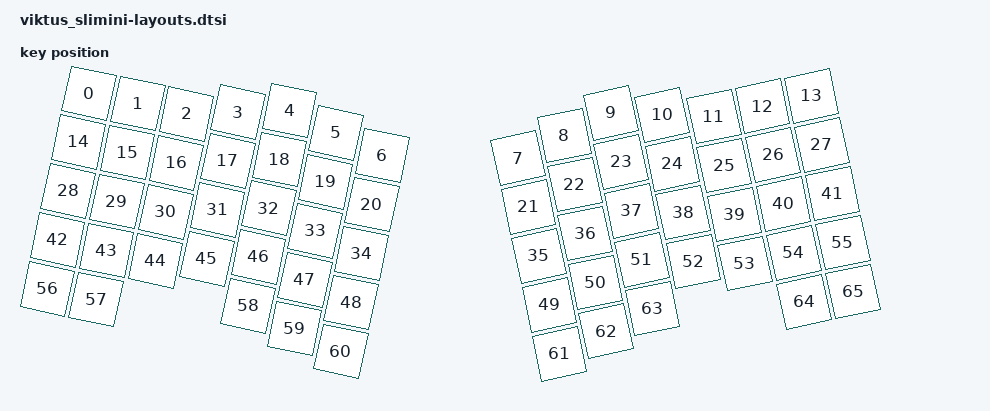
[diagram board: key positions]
/*
 * Copyright (c) 2024 The ZMK Contributors
 *
 * SPDX-License-Identifier: MIT
 */

 #include <physical_layouts.dtsi>

 / {
     physical_layout0: physical_layout_0 {
         compatible = "zmk,physical-layout";
         display-name = "Default";

         keys  //                     w   h    x    y     rot    rx    ry
             = <&key_physical_attrs 100 100  125   50    1200   100     0>
             , <&key_physical_attrs 100 100  225   50    1200   100     0>
             , <&key_physical_attrs 100 100  325   50    1200   100     0>
             , <&key_physical_attrs 100 100  425   25    1200   100     0>
             , <&key_physical_attrs 100 100  525    0    1200   100     0>
             , <&key_physical_attrs 100 100  625   25    1200   100     0>
             , <&key_physical_attrs 100 100  725   50    1200   100     0>
             , <&key_physical_attrs 100 100  925   50 (-1200)  1675     0>
             , <&key_physical_attrs 100 100 1025   25 (-1200)  1675     0>
             , <&key_physical_attrs 100 100 1125    0 (-1200)  1675     0>
             , <&key_physical_attrs 100 100 1225   25 (-1200)  1675     0>
             , <&key_physical_attrs 100 100 1325   50 (-1200)  1675     0>
             , <&key_physical_attrs 100 100 1425   50 (-1200)  1675     0>
             , <&key_physical_attrs 100 100 1525   50 (-1200)  1675     0>
             , <&key_physical_attrs 100 100  125  150    1200   100     0>
             , <&key_physical_attrs 100 100  225  150    1200   100     0>
             , <&key_physical_attrs 100 100  325  150    1200   100     0>
             , <&key_physical_attrs 100 100  425  125    1200   100     0>
             , <&key_physical_attrs 100 100  525  100    1200   100     0>
             , <&key_physical_attrs 100 100  625  125    1200   100     0>
             , <&key_physical_attrs 100 100  725  150    1200   100     0>
             , <&key_physical_attrs 100 100  925  150 (-1200)  1675     0>
             , <&key_physical_attrs 100 100 1025  125 (-1200)  1675     0>
             , <&key_physical_attrs 100 100 1125  100 (-1200)  1675     0>
             , <&key_physical_attrs 100 100 1225  125 (-1200)  1675     0>
             , <&key_physical_attrs 100 100 1325  150 (-1200)  1675     0>
             , <&key_physical_attrs 100 100 1425  150 (-1200)  1675     0>
             , <&key_physical_attrs 100 100 1525  150 (-1200)  1675     0>
             , <&key_physical_attrs 100 100  125  250    1200   100     0>
             , <&key_physical_attrs 100 100  225  250    1200   100     0>
             , <&key_physical_attrs 100 100  325  250    1200   100     0>
             , <&key_physical_attrs 100 100  425  225    1200   100     0>
             , <&key_physical_attrs 100 100  525  200    1200   100     0>
             , <&key_physical_attrs 100 100  625  225    1200   100     0>
             , <&key_physical_attrs 100 100  725  250    1200   100     0>
             , <&key_physical_attrs 100 100  925  250 (-1200)  1675     0>
             , <&key_physical_attrs 100 100 1025  225 (-1200)  1675     0>
             , <&key_physical_attrs 100 100 1125  200 (-1200)  1675     0>
             , <&key_physical_attrs 100 100 1225  225 (-1200)  1675     0>
             , <&key_physical_attrs 100 100 1325  250 (-1200)  1675     0>
             , <&key_physical_attrs 100 100 1425  250 (-1200)  1675     0>
             , <&key_physical_attrs 100 100 1525  250 (-1200)  1675     0>
             , <&key_physical_attrs 100 100  125  350    1200   100     0>
             , <&key_physical_attrs 100 100  225  350    1200   100     0>
             , <&key_physical_attrs 100 100  325  350    1200   100     0>
             , <&key_physical_attrs 100 100  425  325    1200   100     0>
             , <&key_physical_attrs 100 100  525  300    1200   100     0>
             , <&key_physical_attrs 100 100  625  325    1200   100     0>
             , <&key_physical_attrs 100 100  725  350    1200   100     0>
             , <&key_physical_attrs 100 100  925  350 (-1200)  1675     0>
             , <&key_physical_attrs 100 100 1025  325 (-1200)  1675     0>
             , <&key_physical_attrs 100 100 1125  300 (-1200)  1675     0>
             , <&key_physical_attrs 100 100 1225  325 (-1200)  1675     0>
             , <&key_physical_attrs 100 100 1325  350 (-1200)  1675     0>
             , <&key_physical_attrs 100 100 1425  350 (-1200)  1675     0>
             , <&key_physical_attrs 100 100 1525  350 (-1200)  1675     0>
             , <&key_physical_attrs 100 100  125  450    1200   100     0>
             , <&key_physical_attrs 100 100  225  450    1200   100     0>
             , <&key_physical_attrs 100 100  525  400    1200   100     0>
             , <&key_physical_attrs 100 100  625  425    1200   100     0>
             , <&key_physical_attrs 100 100  725  450    1200   100     0>
             , <&key_physical_attrs 100 100  925  450 (-1200)  1675     0>
             , <&key_physical_attrs 100 100 1025  425 (-1200)  1675     0>
             , <&key_physical_attrs 100 100 1125  400 (-1200)  1675     0>
             , <&key_physical_attrs 100 100 1425  450 (-1200)  1675     0>
             , <&key_physical_attrs 100 100 1525  450 (-1200)  1675     0>
         ;
     };
 };
